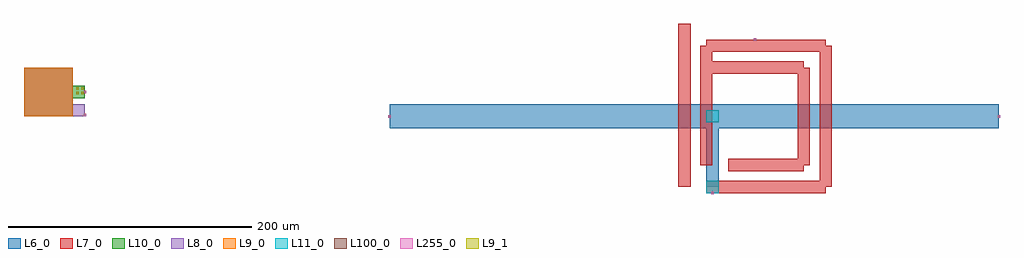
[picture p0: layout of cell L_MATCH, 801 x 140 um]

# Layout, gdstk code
import gdstk
lib = gdstk.Library(unit=1e-6, precision=1e-09)
def R(c, l, rs):  # rectangles x0, y0, x1, y1
    for r in rs: c.add(gdstk.rectangle(r[:2], r[2:], *l))
L6_0 = (6, 0)
L7_0 = (7, 0)
L8_0 = (8, 0)
L9_0 = (9, 0)
L9_1 = (9, 1)
L10_0 = (10, 0)
L11_0 = (11, 0)
L100_0 = (100, 0)
L255_0 = (255, 0)

c1_cap_mim = lib.new_cell('C1_CAP_MIM')
R(c1_cap_mim, L8_0, [(0,0,40,40), (40,0,50,10)])
R(c1_cap_mim, L9_0, [(0,0,40,40)])
R(c1_cap_mim, L9_1, [(43,18,45,20), (47,18,49,20), (43,22,45,24), (47,22,49,24)])
R(c1_cap_mim, L10_0, [(0,0,40,40), (40,15,50,25)])
R(c1_cap_mim, L100_0, [(49,0,51,2), (49,19,51,21)])
R(c1_cap_mim, L255_0, [(49,0,51,2), (49,19,51,21)])
c1_cap_mim.add(gdstk.Label('PI', (50,20), layer=100, texttype=0))
c1_cap_mim.add(gdstk.Label('NIN', (50,1), layer=100, texttype=0))

tl1_tl_microstrip = lib.new_cell('TL1_TL_MICROSTRIP')
R(tl1_tl_microstrip, L6_0, [(0,-10,500,10)])
R(tl1_tl_microstrip, L100_0, [(-1,-1,1,1), (499,-1,501,1)])
R(tl1_tl_microstrip, L255_0, [(-1,-1,1,1), (499,-1,501,1)])
tl1_tl_microstrip.add(gdstk.Label('P1', (0,0), layer=100, texttype=0))
tl1_tl_microstrip.add(gdstk.Label('P2', (500,0), layer=100, texttype=0))

l1_ind_spiral = lib.new_cell('L1_IND_SPIRAL')
R(l1_ind_spiral, L6_0, [(-40,-58,-30,0)])
R(l1_ind_spiral, L7_0, [(-40,-63,58,-53), (-63,-58,-53,76), (53,-58,63,58), (-22,-45,40,-35), (-45,-40,-35,58), (35,-40,45,40), (-40,35,40,45), (-40,53,58,63)])
R(l1_ind_spiral, L11_0, [(-40,-63,-30,-53), (-40,-5,-30,5)])
R(l1_ind_spiral, L100_0, [(-36,-64,-34,-62), (-1,62,1,64)])
R(l1_ind_spiral, L255_0, [(-36,-64,-34,-62), (-1,62,1,64)])
l1_ind_spiral.add(gdstk.Label('PI', (0,63), layer=100, texttype=0))
l1_ind_spiral.add(gdstk.Label('NIN', (-35,-63), layer=100, texttype=0))

l_match = lib.new_cell('L_MATCH')
l_match.add(gdstk.Reference(c1_cap_mim, (0,100)))
l_match.add(gdstk.Reference(tl1_tl_microstrip, (300,100)))
l_match.add(gdstk.Reference(l1_ind_spiral, (600,100)))

lib.write_gds('L_MATCH.gds')
